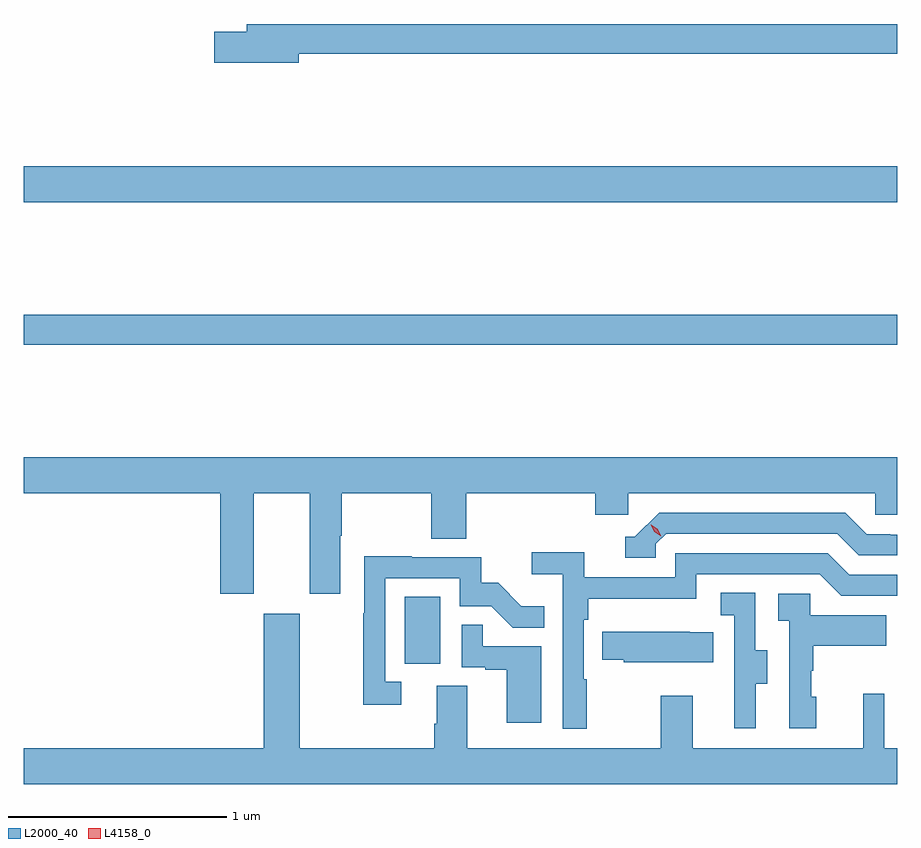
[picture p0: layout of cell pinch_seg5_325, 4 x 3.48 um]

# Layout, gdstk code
import gdstk
lib = gdstk.Library(unit=1e-6, precision=1e-09)
def R(c, l, rs):  # rectangles x0, y0, x1, y1
    for r in rs: c.add(gdstk.rectangle(r[:2], r[2:], *l))
def P(c, l, *ps):  # polygons
    for p in ps: c.add(gdstk.Polygon(p, *l))
L2000_40 = (2000, 40)
L4158_0 = (4158, 0)

pinch_seg5_325 = lib.new_cell('pinch_seg5_325')
R(pinch_seg5_325, L2000_40, [(936.77,878.622,936.934,878.929), (935.026,880.084,939.026,880.22), (935.026,880.736,939.026,880.9)])
P(pinch_seg5_325, L2000_40, [(936.286,881.416),(939.026,881.416),(939.026,881.552),(936.047,881.552),(936.047,881.516),(935.898,881.516),(935.898,881.374),(936.286,881.374)],
  [(936.079,879.404),(936.335,879.404),(936.335,878.943),(936.475,878.943),(936.475,879.208),(936.483,879.208),(936.483,879.404),(936.892,879.404),(936.892,879.196),(937.052,879.196),(937.052,879.404),(937.643,879.404),(937.643,879.306),(937.794,879.306),(937.794,879.404),(938.925,879.404),(938.925,879.306),(939.026,879.306),(939.026,879.568),(935.026,879.568),(935.026,879.404),(935.927,879.404),(935.927,878.943),(936.079,878.943)],
  [(937.92,879.171),(937.968,879.219),(938.751,879.219),(938.85,879.12),(939.026,879.12),(939.026,879.213),(938.994,879.213),(938.994,879.216),(938.887,879.216),(938.788,879.315),(937.935,879.315),(937.824,879.204),(937.781,879.204),(937.781,879.108),(937.92,879.108)],
  [(937.603,878.552),(937.59,878.552),(937.59,878.825),(937.61,878.825),(937.61,878.921),(938.106,878.921),(938.106,879.033),(938.67,879.033),(938.769,878.934),(939.026,878.934),(939.026,879.03),(938.806,879.03),(938.707,879.129),(938.01,879.129),(938.01,879.018),(937.592,879.018),(937.592,879.134),(937.353,879.134),(937.353,879.032),(937.494,879.032),(937.494,878.325),(937.603,878.325)],
  [(936.754,878.541),(936.681,878.541),(936.681,879.015),(937.023,879.015),(937.023,878.886),(937.167,878.886),(937.265,878.788),(937.409,878.788),(937.409,878.887),(937.305,878.887),(937.198,878.994),(937.122,878.994),(937.122,879.111),(936.803,879.111),(936.803,879.116),(936.585,879.116),(936.585,878.855),(936.58,878.855),(936.58,878.436),(936.754,878.436)],
  [(938.377,878.53),(938.431,878.53),(938.431,878.685),(938.376,878.685),(938.376,878.948),(938.217,878.948),(938.217,878.845),(938.28,878.845),(938.28,878.541),(938.279,878.541),(938.279,878.328),(938.377,878.328)],
  [(938.656,878.472),(938.631,878.472),(938.631,878.591),(938.641,878.591),(938.641,878.705),(938.975,878.705),(938.975,878.845),(938.628,878.845),(938.628,878.943),(938.481,878.943),(938.481,878.819),(938.532,878.819),(938.532,878.328),(938.656,878.328)],
  [(939.026,878.236),(938.967,878.236),(938.967,878.485),(938.87,878.485),(938.87,878.236),(938.089,878.236),(938.089,878.476),(937.942,878.476),(937.942,878.236),(937.057,878.236),(937.057,878.522),(936.917,878.522),(936.917,878.348),(936.905,878.348),(936.905,878.236),(936.289,878.236),(936.289,878.851),(936.125,878.851),(936.125,878.236),(935.026,878.236),(935.026,878.072),(939.026,878.072)],
  [(937.396,878.703),(937.127,878.703),(937.127,878.801),(937.032,878.801),(937.032,878.607),(937.139,878.607),(937.139,878.595),(937.238,878.595),(937.238,878.352),(937.396,878.352)],
  [(938.183,878.767),(938.075,878.767),(938.075,878.77),(937.675,878.77),(937.675,878.641),(937.773,878.641),(937.773,878.63),(938.183,878.63)])
P(pinch_seg5_325, L4158_0, [(937.945,879.206),(937.914,879.226),(937.898,879.258),(937.898,879.259),(937.899,879.259),(937.929,879.239),(937.945,879.206),(937.945,879.206)])

lib.write_gds('pinch_seg5_325.gds')
